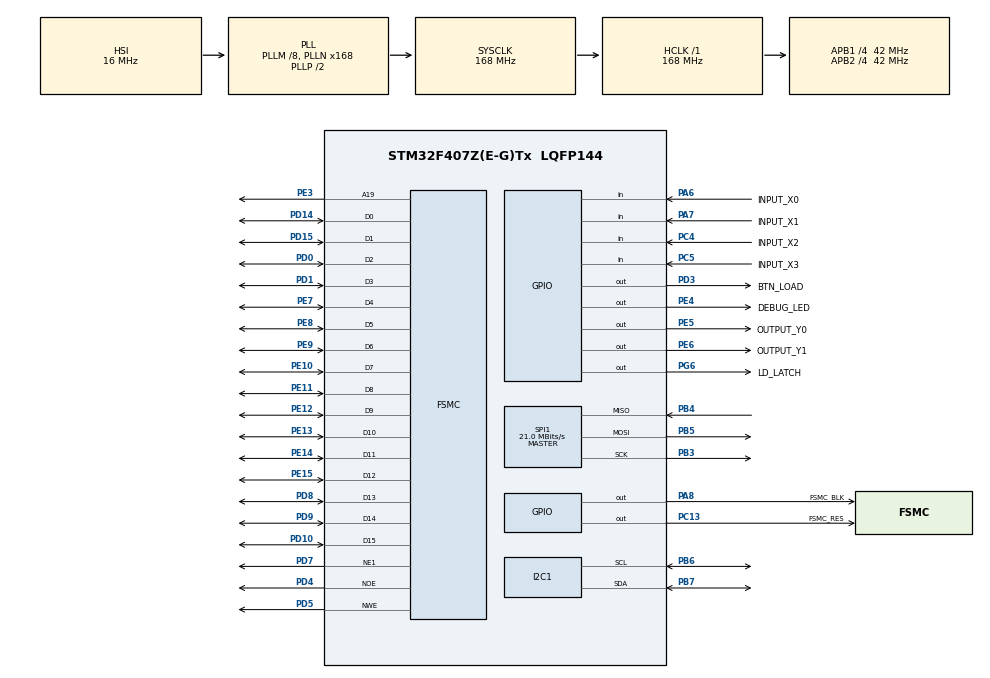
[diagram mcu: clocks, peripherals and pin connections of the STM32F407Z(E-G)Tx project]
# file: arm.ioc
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FSMC.AddressSetupTime1=0xf
FSMC.BusTurnAroundDuration1=0
FSMC.DataSetupTime1=60
FSMC.ExtendedAddressSetupTime1=8
FSMC.ExtendedBusTurnAroundDuration1=0
FSMC.ExtendedDataSetupTime1=9
FSMC.ExtendedMode1=FSMC_EXTENDED_MODE_ENABLE
Mcu.Family=STM32F4
Mcu.Name=STM32F407Z(E-G)Tx
Mcu.Package=LQFP144
NVIC.PriorityGroup=NVIC_PRIORITYGROUP_4
NVIC.TIM2_IRQn=true\:0\:0\:false\:false\:true\:true\:true\:true
PA13.Mode=Serial_Wire
PA13.Signal=SYS_JTMS-SWDIO
PA14.Mode=Serial_Wire
PA14.Signal=SYS_JTCK-SWCLK
PA6.GPIO_Label=INPUT_X0
PA6.Signal=GPIO_Input
PA7.GPIO_Label=INPUT_X1
PA7.Signal=GPIO_Input
PA8.GPIO_Label=FSMC_BLK
PA8.Signal=GPIO_Output
PB3.Mode=Full_Duplex_Master
PB3.Signal=SPI1_SCK
PB4.Mode=Full_Duplex_Master
PB4.Signal=SPI1_MISO
PB5.Mode=Full_Duplex_Master
PB5.Signal=SPI1_MOSI
PB6.Mode=I2C
PB6.Signal=I2C1_SCL
PB7.Mode=I2C
PB7.Signal=I2C1_SDA
PC13-ANTI_TAMP.GPIO_Label=FSMC_RES
PC13-ANTI_TAMP.Signal=GPIO_Output
PC4.GPIO_Label=INPUT_X2
PC4.Signal=GPIO_Input
PC5.GPIO_Label=INPUT_X3
PC5.Signal=GPIO_Input
PD0.Signal=FSMC_D2_DA2
PD1.Signal=FSMC_D3_DA3
PD10.Signal=FSMC_D15_DA15
PD14.Signal=FSMC_D0_DA0
PD15.Signal=FSMC_D1_DA1
PD3.GPIO_Label=BTN_LOAD
PD3.Signal=GPIO_Output
PD4.Signal=FSMC_NOE
PD5.Signal=FSMC_NWE
PD7.Mode=NorPsramChipSelect1_1
PD7.Signal=FSMC_NE1
PD8.Signal=FSMC_D13_DA13
PD9.Signal=FSMC_D14_DA14
PE10.Signal=FSMC_D7_DA7
PE11.Signal=FSMC_D8_DA8
PE12.Signal=FSMC_D9_DA9
PE13.Signal=FSMC_D10_DA10
PE14.Signal=FSMC_D11_DA11
PE15.Signal=FSMC_D12_DA12
PE3.Signal=FSMC_A19
PE4.GPIO_Label=DEBUG_LED
PE4.Signal=GPIO_Output
PE5.GPIO_Label=OUTPUT_Y0
PE5.Signal=GPIO_Output
PE6.GPIO_Label=OUTPUT_Y1
PE6.Signal=GPIO_Output
PE7.Signal=FSMC_D4_DA4
PE8.Signal=FSMC_D5_DA5
PE9.Signal=FSMC_D6_DA6
PG6.GPIO_Label=LD_LATCH
PG6.Signal=GPIO_Output
PH0-OSC_IN.Mode=HSE-External-Oscillator
PH0-OSC_IN.Signal=RCC_OSC_IN
PH1-OSC_OUT.Mode=HSE-External-Oscillator
PH1-OSC_OUT.Signal=RCC_OSC_OUT
ProjectManager.HeapSize=0x200
ProjectManager.StackSize=0x400
ProjectManager.TargetToolchain=STM32CubeIDE
RCC.48MHZClocksFreq_Value=84000000
RCC.AHBFreq_Value=168000000
RCC.APB1CLKDivider=RCC_HCLK_DIV4
RCC.APB1Freq_Value=42000000
RCC.APB1TimFreq_Value=84000000
RCC.APB2CLKDivider=RCC_HCLK_DIV4
RCC.APB2Freq_Value=42000000
RCC.APB2TimFreq_Value=84000000
RCC.CortexFreq_Value=168000000
RCC.HCLKFreq_Value=168000000
RCC.HSE_VALUE=8000000
RCC.HSI_VALUE=16000000
RCC.LSE_VALUE=32768
RCC.PLLM=8
RCC.PLLN=168
RCC.SYSCLKFreq_VALUE=168000000
RCC.SYSCLKSource=RCC_SYSCLKSOURCE_PLLCLK
RCC.VCOOutputFreq_Value=336000000
SH.FSMC_A19.0=FSMC_A19,A19_1
SH.FSMC_D0_DA0.0=FSMC_D0,16b-d1
SH.FSMC_D10_DA10.0=FSMC_D10,16b-d1
SH.FSMC_D11_DA11.0=FSMC_D11,16b-d1
SH.FSMC_D12_DA12.0=FSMC_D12,16b-d1
SH.FSMC_D13_DA13.0=FSMC_D13,16b-d1
SH.FSMC_D14_DA14.0=FSMC_D14,16b-d1
SH.FSMC_D15_DA15.0=FSMC_D15,16b-d1
SH.FSMC_D1_DA1.0=FSMC_D1,16b-d1
SH.FSMC_D2_DA2.0=FSMC_D2,16b-d1
SH.FSMC_D3_DA3.0=FSMC_D3,16b-d1
SH.FSMC_D4_DA4.0=FSMC_D4,16b-d1
SH.FSMC_D5_DA5.0=FSMC_D5,16b-d1
SH.FSMC_D6_DA6.0=FSMC_D6,16b-d1
SH.FSMC_D7_DA7.0=FSMC_D7,16b-d1
SH.FSMC_D8_DA8.0=FSMC_D8,16b-d1
SH.FSMC_D9_DA9.0=FSMC_D9,16b-d1
SH.FSMC_NOE.0=FSMC_NOE,Lcd1
SH.FSMC_NWE.0=FSMC_NWE,Lcd1
SPI1.CalculateBaudRate=21.0 MBits/s
SPI1.Direction=SPI_DIRECTION_2LINES
SPI1.Mode=SPI_MODE_MASTER
SPI1.VirtualType=VM_MASTER
TIM2.Period=100-1
TIM2.Prescaler=840-1
VP_TIM2_VS_ClockSourceINT.Mode=Internal
board=custom

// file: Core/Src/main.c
/* USER CODE BEGIN Header */
/**
  ******************************************************************************
  * @file           : main.c
  * @brief          : Main program body
  ******************************************************************************
  * @attention
  *
  * <h2><center>&copy; Copyright (c) 2023 STMicroelectronics.
  * All rights reserved.</center></h2>
  *
  * This software component is licensed by ST under BSD 3-Clause license,
  * the "License"; You may not use this file except in compliance with the
  * License. You may obtain a copy of the License at:
  *                        opensource.org/licenses/BSD-3-Clause
  *
  ******************************************************************************
  */
/* USER CODE END Header */
#include "main.h"
#include "i2c.h"
#include "spi.h"
#include "tim.h"
#include "gpio.h"
#include "fsmc.h"

/* USER CODE BEGIN Includes */
#include "software_timer.h"
#include "led_7seg.h"
#include "button.h"
#include "lcd.h"
#include "picture.h"
#include "ds3231.h"
#include "timer.h"
/* USER CODE END Includes */

/* USER CODE BEGIN PV */
uint8_t count_led_debug = 0;
/* USER CODE END PV */

void SystemClock_Config(void);
/* USER CODE BEGIN PFP */
void system_init();
void test_LedDebug();
void displayTime();
void updateTime();
/* USER CODE END PFP */

int main(void)
{

  /* MCU Configuration--------------------------------------------------------*/

  /* Reset of all peripherals, Initializes the Flash interface and the Systick. */
  HAL_Init();

  /* Configure the system clock */
  SystemClock_Config();

  /* Initialize all configured peripherals */
  MX_GPIO_Init();
  MX_TIM2_Init();
  MX_SPI1_Init();
  MX_FSMC_Init();
  MX_I2C1_Init();
  /* USER CODE BEGIN 2 */
  system_init();
  /* USER CODE END 2 */

  /* Infinite loop */
  /* USER CODE BEGIN WHILE */
 lcd_Clear(BLACK);
 updateTime();

  while (1)
  {
	  while(!flag_timer2);
	  flag_timer2 = 0;
	  button_Scan();
	  ds3231_ReadTime();
	  button_press();

  }

    /* USER CODE END WHILE */

}

void SystemClock_Config(void)
{
  RCC_OscInitTypeDef RCC_OscInitStruct = {0};
  RCC_ClkInitTypeDef RCC_ClkInitStruct = {0};

  /** Configure the main internal regulator output voltage
  */
  __HAL_RCC_PWR_CLK_ENABLE();
  __HAL_PWR_VOLTAGESCALING_CONFIG(PWR_REGULATOR_VOLTAGE_SCALE1);
  /** Initializes the RCC Oscillators according to the specified parameters
  * in the RCC_OscInitTypeDef structure.
  */
  RCC_OscInitStruct.OscillatorType = RCC_OSCILLATORTYPE_HSI;
  RCC_OscInitStruct.HSIState = RCC_HSI_ON;
  RCC_OscInitStruct.HSICalibrationValue = RCC_HSICALIBRATION_DEFAULT;
  RCC_OscInitStruct.PLL.PLLState = RCC_PLL_ON;
  RCC_OscInitStruct.PLL.PLLSource = RCC_PLLSOURCE_HSI;
  RCC_OscInitStruct.PLL.PLLM = 8;
  RCC_OscInitStruct.PLL.PLLN = 168;
  RCC_OscInitStruct.PLL.PLLP = RCC_PLLP_DIV2;
  RCC_OscInitStruct.PLL.PLLQ = 4;
  if (HAL_RCC_OscConfig(&RCC_OscInitStruct) != HAL_OK)
  {
    Error_Handler();
  }
  /** Initializes the CPU, AHB and APB buses clocks
  */
  RCC_ClkInitStruct.ClockType = RCC_CLOCKTYPE_HCLK|RCC_CLOCKTYPE_SYSCLK
                              |RCC_CLOCKTYPE_PCLK1|RCC_CLOCKTYPE_PCLK2;
  RCC_ClkInitStruct.SYSCLKSource = RCC_SYSCLKSOURCE_PLLCLK;
  RCC_ClkInitStruct.AHBCLKDivider = RCC_SYSCLK_DIV1;
  RCC_ClkInitStruct.APB1CLKDivider = RCC_HCLK_DIV4;
  RCC_ClkInitStruct.APB2CLKDivider = RCC_HCLK_DIV4;

  if (HAL_RCC_ClockConfig(&RCC_ClkInitStruct, FLASH_LATENCY_5) != HAL_OK)
  {
    Error_Handler();
  }
}

/* USER CODE BEGIN 4 */
void system_init(){
	  HAL_GPIO_WritePin(OUTPUT_Y0_GPIO_Port, OUTPUT_Y0_Pin, 0);
	  HAL_GPIO_WritePin(OUTPUT_Y1_GPIO_Port, OUTPUT_Y1_Pin, 0);
	  HAL_GPIO_WritePin(DEBUG_LED_GPIO_Port, DEBUG_LED_Pin, 0);
	  timer_init();
	  led7_init();
	  button_init();
	  lcd_init();
	  ds3231_init();
	  setTimer2(50);
}

void test_LedDebug(){
	count_led_debug = (count_led_debug + 1)%20;
	if(count_led_debug == 0){
		HAL_GPIO_TogglePin(DEBUG_LED_GPIO_Port, DEBUG_LED_Pin);
	}
}

void test_7seg(){
	led7_SetDigit(0, 0, 0);
	led7_SetDigit(5, 1, 0);
	led7_SetDigit(4, 2, 0);
	led7_SetDigit(7, 3, 0);
}
void test_button(){
	for(int i = 0; i < 16; i++){
		if(button_count[i] == 1){
			led7_SetDigit(i/10, 2, 0);
			led7_SetDigit(i%10, 3, 0);
		}
	}
}

void updateTime(){
	ds3231_Write(ADDRESS_YEAR, timeElements[0]);
	ds3231_Write(ADDRESS_MONTH, timeElements[1]);
	ds3231_Write(ADDRESS_DATE, timeElements[2]);
	ds3231_Write(ADDRESS_DAY, timeElements[3]);
	ds3231_Write(ADDRESS_HOUR, timeElements[4]);
	ds3231_Write(ADDRESS_MIN, timeElements[5]);
	ds3231_Write(ADDRESS_SEC, timeElements[6]);
}

uint8_t isButtonUp()
{
    if (button_count[3] == 1)
        return 1;
    else
        return 0;
}
uint8_t isButtonDown()
{
    if (button_count[7] == 1)
        return 1;
    else
        return 0;
}

/* USER CODE END 4 */

void Error_Handler(void)
{
  __disable_irq();
  while (1)
  {
  }
}

/************************ (C) COPYRIGHT STMicroelectronics *****END OF FILE****/
